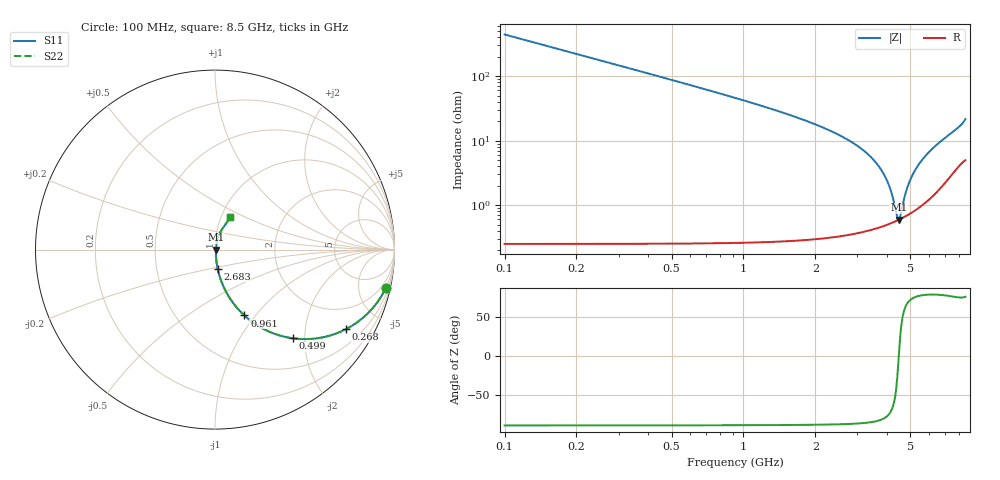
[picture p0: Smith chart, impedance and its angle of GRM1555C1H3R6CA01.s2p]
!Murata Part Number: GRM1555C1H3R6CA01
!These Parameters are Measured in Series Mode Connection
!Data Generated on Mar 30, 2021
!  o--ll--o
!Port1  Port2
!  o------o
!Operation Temp=25[degC], DC Bias Voltage=0[V]
!Freq. Start=100[MHz] Stop=9[GHz] 401[Steps]
# Hz S RI R 50
!Freq.(Hz) S11(Real) S11(Imag) S21(Real) S21(Imag) S12(Real) S12(Imag) S22(Real) S22(Imag)
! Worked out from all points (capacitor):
!   401 points, 100 MHz to 8.5 GHz, reference 50 ohm
!   read as one part in series: C = 3.6 pF near 142 MHz
!   lowest |Z| = 592 mohm at 4.468 GHz (marker M1)
!   series resonance near 4.472 GHz, so ESL is about 350 pH
!   S11 on the Smith chart (normalised r, x): 100 MHz: 1.01, -8.84; 268 MHz: 1.01, -3.29; 499 MHz: 1.01, -1.75; 961 MHz: 1.01, -0.88; 2.683 GHz: 1.01, -0.21; 8.5 GHz: 1.10, +0.42
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1e8  0.9512 -0.2152  0.0488 0.2152  0.0488 0.2152  0.9512 -0.2152
2.05e8  0.8222 -0.3818  0.1778 0.3818  0.1778 0.3818  0.8222 -0.3818
2.68e8  0.7296 -0.4434  0.2704 0.4434  0.2704 0.4434  0.7296 -0.4434
4.99e8  0.4341 -0.4942  0.5659 0.4942  0.5659 0.4942  0.4341 -0.4942
7.09e8  0.2711 -0.4425  0.7289 0.4425  0.7289 0.4425  0.2711 -0.4425
9.61e8  0.1635 -0.3669  0.8365 0.3669  0.8365 0.3669  0.1635 -0.3669
1.507e9  0.0662 -0.2435  0.9338 0.2435  0.9338 0.2435  0.0662 -0.2435
2.683e9  0.0147 -0.1054  0.9853 0.1054  0.9853 0.1054  0.0147 -0.1054
2.914e9  0.0114 -0.0879  0.9886 0.0879  0.9886 0.0879  0.0114 -0.0879
3.439e9  0.00701 -0.0536  0.993 0.0536  0.993 0.0536  0.00701 -0.0536
3.817e9  0.00569 -0.0323  0.9943 0.0323  0.9943 0.0323  0.00569 -0.0323
4.09e9  0.00544 -0.0183  0.9946 0.0183  0.9946 0.0183  0.00544 -0.0183
4.3e9  0.00558 -0.00808  0.9944 0.00808  0.9944 0.00808  0.00558 -0.00808
4.405e9  0.00575 -0.00312  0.9943 0.00312  0.9943 0.00312  0.00575 -0.00312
4.468e9  0.00588 -0.000196  0.9941 0.000196  0.9941 0.000196  0.00588 -0.000196
4.531e9  0.00604 0.0027  0.994 -0.0027  0.994 -0.0027  0.00604 0.0027
4.783e9  0.00689 0.014  0.9931 -0.014  0.9931 -0.014  0.00689 0.014
4.972e9  0.00776 0.0222  0.9922 -0.0222  0.9922 -0.0222  0.00776 0.0222
5.287e9  0.00967 0.0355  0.9903 -0.0355  0.9903 -0.0355  0.00967 0.0355
5.707e9  0.0132 0.0525  0.9868 -0.0525  0.9868 -0.0525  0.0132 0.0525
7.114e9  0.0352 0.1071  0.9648 -0.1071  0.9648 -0.1071  0.0352 0.1071
8.5e9  0.0841 0.1834  0.9159 -0.1834  0.9159 -0.1834  0.0841 0.1834
